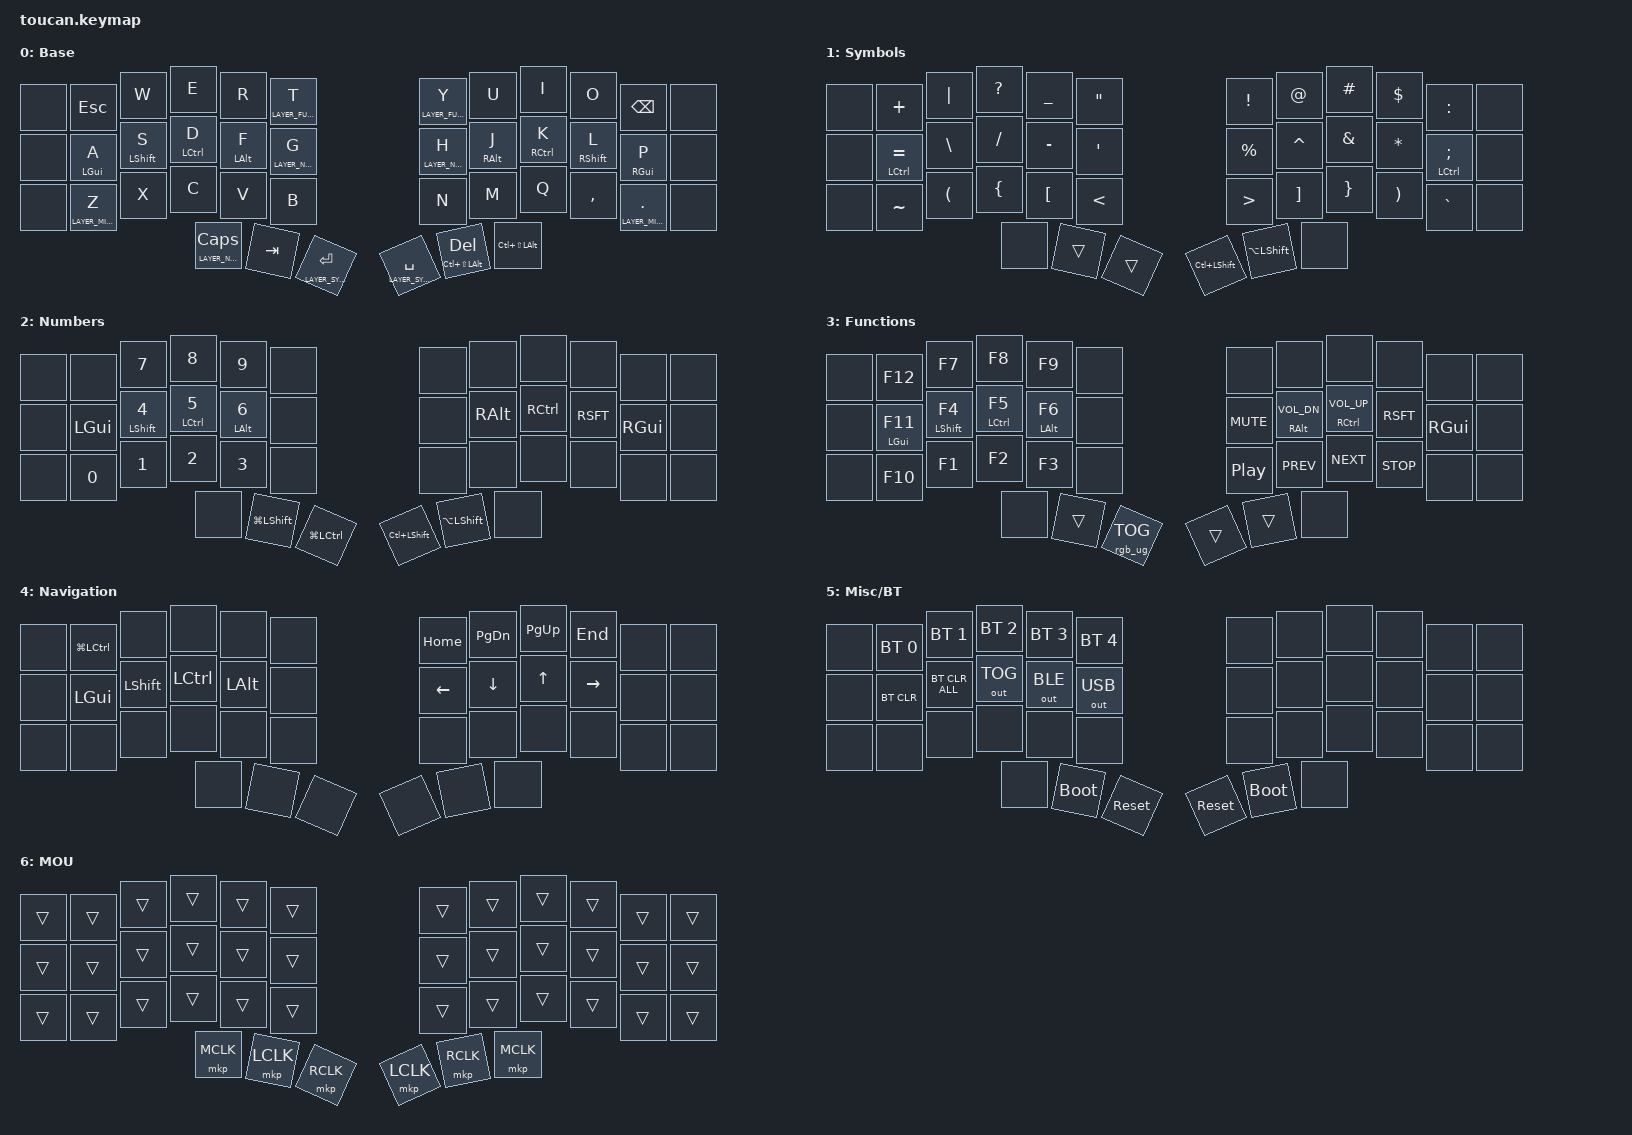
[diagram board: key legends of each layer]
/*
 * Copyright (c) 2020 The ZMK Contributors
 *
 * SPDX-License-Identifier: MIT
 */

#include <behaviors.dtsi>
#include <dt-bindings/zmk/keys.h>
#include <dt-bindings/zmk/bt.h>
#include <dt-bindings/zmk/outputs.h>
#include <dt-bindings/zmk/rgb.h>
#include <dt-bindings/zmk/pointing.h>

// Layer definitions
#define LAYER_BASE        0
#define LAYER_SYMBOLS     1
#define LAYER_NUMBERS     2
#define LAYER_FUNCTIONS   3
#define LAYER_NAVIGATION  4
#define LAYER_MISC        5
#define LAYER_MOUSE       6

// Modifier combination aliases
#define MEH_KEY  LC(LS(LALT))
#define HYPR_KEY LC(LS(LA(LGUI)))
#define CTRLSHFT LC(LSHIFT)
#define OSSHFT   LG(LSHIFT)
#define ALTSHFT  LA(LSHIFT)
#define OSCTRL   LG(LCTRL)

/ {
    behaviors {
        hm: homerow_mods {
            compatible = "zmk,behavior-hold-tap";
            label = "HOMEROW_MODS";
            #binding-cells = <2>;
            flavor = "balanced";
            tapping-term-ms = <200>;
            quick-tap-ms = <175>;
            require-prior-idle-ms = <125>;
            bindings = <&kp>, <&kp>;
        };
    };

    keymap {
        compatible = "zmk,keymap";

        base_layer {
            display-name = "Base";
// ---------------------------------------------------------------------------------------------------------------------------------
// |      |  ESC       |  W         |  E         |  R         |  T (LT3)   |   |  Y (LT3)   |  U         |  I         |  O         |  BSPC      |      |
// |      |  A (GUI)   |  S (SFT)   |  D (CTL)   |  F (ALT)   |  G (LT2)   |   |  H (LT2)   |  J (ALT)   |  K (CTL)   |  L (SFT)   |  P (GUI)   |      |
// |      |  Z (LT5)   |  X         |  C         |  V         |  B         |   |  N         |  M         |  Q         |  ,         |  . (LT5)   |      |
//                                  | CAPS (LT4) | TAB        | ENT (LT1)  |   | SPC (LT1)  | DEL (MEH)  | MEH        |
            bindings = <
   &none  &kp ESC     &kp W        &kp E        &kp R        &lt LAYER_FUNCTIONS T       &lt LAYER_FUNCTIONS Y  &kp U        &kp I        &kp O        &kp BSPC           &none
   &none  &hm LGUI A  &hm LSHFT S  &hm LCTRL D  &hm LALT F   &lt LAYER_NUMBERS G         &lt LAYER_NUMBERS H    &hm RALT J   &hm RCTRL K  &hm RSHFT L  &hm RGUI P         &none
   &none  &lt LAYER_MISC Z &kp X   &kp C        &kp V        &kp B                       &kp N                  &kp M        &kp Q        &kp COMMA    &lt LAYER_MISC DOT &none
                                   &lt LAYER_NAVIGATION CAPS &kp TAB &lt LAYER_SYMBOLS RET  &lt LAYER_SYMBOLS SPACE &mt MEH_KEY DEL &kp MEH_KEY
            >;
        };

        symbols_layer {
            display-name = "Symbols";
// ---------------------------------------------------------------------------------------------------------------------------------
// |      |  +         |  |         |  ?         |  _         |  "         |   |  !         |  @         |  #         |  $         |  :         |      |
// |      |  = (CTL)   |  \         |  /         |  -         |  '         |   |  %         |  ^         |  &         |  *         |  ; (CTL)   |      |
// |      |  ~         |  (         |  {         |  [         |  <         |   |  >         |  ]         |  }         |  )         |  `         |      |
//                                  |            |  TRANS     |  TRANS     |   | CTRL+SHFT  | ALT+SHFT   |            |
            bindings = <
   &none  &kp PLUS          &kp PIPE  &kp QMARK &kp UNDER &kp DQT           &kp EXCL        &kp AT    &kp HASH  &kp DLLR   &kp COLON        &none
   &none  &mt LCTRL EQUAL   &kp BSLH  &kp FSLH  &kp MINUS &kp SQT           &kp PRCNT       &kp CARET &kp AMPS  &kp ASTRK  &mt LCTRL SEMI   &none
   &none  &kp TILDE         &kp LPAR  &kp LBRC  &kp LBKT  &kp LT            &kp GT          &kp RBKT  &kp RBRC  &kp RPAR   &kp GRAVE        &none
                                      &none     &trans    &trans            &kp CTRLSHFT    &kp ALTSHFT &none
            >;
        };

        numbers_layer {
            display-name = "Numbers";
// ---------------------------------------------------------------------------------------------------------------------------------
// |      |            |  7         |  8         |  9         |            |   |            |            |            |            |            |      |
// |      |  GUI       |  4 (SFT)   |  5 (CTL)   |  6 (ALT)   |            |   |            |  RALT      |  RCTRL     |  RSFT      |  RGUI      |      |
// |      |  0         |  1         |  2         |  3         |            |   |            |            |            |            |            |      |
//                                  |            |  GUI+SHFT  |  GUI+CTL   |   | CTRL+SHFT  | ALT+SHFT   |            |
            bindings = <
   &none  &none       &kp N7       &kp N8       &kp N9       &none          &none         &none        &none        &none        &none        &none
   &none  &kp LGUI    &hm LSHFT N4 &hm LCTRL N5 &hm LALT N6  &none          &none         &kp RALT     &kp RCTRL    &kp RSFT     &kp RGUI     &none
   &none  &kp N0      &kp N1       &kp N2       &kp N3       &none          &none         &none        &none        &none        &none        &none
                                   &none        &kp OSSHFT   &kp OSCTRL     &kp CTRLSHFT  &kp ALTSHFT  &none
            >;
        };

        functions_layer {
            display-name = "Functions";
// ---------------------------------------------------------------------------------------------------------------------------------
// |      |  F12       |  F7        |  F8        |  F9        |            |   |            |            |            |            |            |      |
// |      |  F11 (GUI) |  F4 (SFT)  |  F5 (CTL)  |  F6 (ALT)  |            |   |  MUTE      |  VOL- (ALT)|  VOL+ (CTL)|  RSFT      |  RGUI      |      |
// |      |  F10       |  F1        |  F2        |  F3        |            |   |  PLAY/PAUSE|  PREV      |  NEXT      |  STOP      |            |      |
//                                  |            |  TRANS     |  RGB_TOG   |   |  TRANS     |  TRANS     |            |
            bindings = <
   &none  &kp F12          &kp F7        &kp F8        &kp F9       &none           &none       &none             &none              &none        &none        &none
   &none  &mt LGUI F11     &mt LSHFT F4  &mt LCTRL F5  &mt LALT F6  &none           &kp C_MUTE  &mt RALT C_VOL_DN &mt RCTRL C_VOL_UP &kp RSFT     &kp RGUI     &none
   &none  &kp F10          &kp F1        &kp F2        &kp F3       &none           &kp C_PP    &kp C_PREV        &kp C_NEXT         &kp C_STOP   &none        &none
                                         &none         &trans       &rgb_ug RGB_TOG &trans      &trans            &none
            >;
        };

        navigation_layer {
            display-name = "Navigation";
// ---------------------------------------------------------------------------------------------------------------------------------
// |      |  GUI+CTL   |            |            |            |            |   |  HOME      |  PG_DN     |  PG_UP     |  END       |            |      |
// |      |  LGUI      |  LSHFT     |  LCTRL     |  LALT      |            |   |  LEFT      |  DOWN      |  UP        |  RIGHT     |            |      |
// |      |            |            |            |            |            |   |            |            |            |            |            |      |
//                                  |            |            |            |   |            |            |            |
            bindings = <
   &none  &kp OSCTRL  &none       &none       &none       &none             &kp HOME    &kp PG_DN   &kp PG_UP   &kp END     &none        &none
   &none  &kp LGUI    &kp LSHFT   &kp LCTRL   &kp LALT    &none             &kp LEFT    &kp DOWN    &kp UP      &kp RIGHT   &none        &none
   &none  &none       &none       &none       &none       &none             &none       &none       &none       &none       &none        &none
                                  &none       &none       &none             &none       &none       &none
            >;
        };

        misc_layer {
            display-name = "Misc/BT";
// ---------------------------------------------------------------------------------------------------------------------------------
// |      |  BT_SEL 0  |  BT_SEL 1  |  BT_SEL 2  |  BT_SEL 3  |  BT_SEL 4  |   |            |            |            |            |            |      |
// |      |  BT_CLR    |  BT_CLR_ALL|  OUT_TOG   |  OUT_BLE   |  OUT_USB   |   |            |            |            |            |            |      |
// |      |            |            |            |            |            |   |            |            |            |            |            |      |
//                                  |            |  BOOTLDR   |  SYS_RST   |   |  SYS_RST   |  BOOTLDR   |            |
            bindings = <
   &none  &bt BT_SEL 0  &bt BT_SEL 1    &bt BT_SEL 2  &bt BT_SEL 3 &bt BT_SEL 4    &none        &none        &none       &none       &none        &none
   &none  &bt BT_CLR    &bt BT_CLR_ALL  &out OUT_TOG  &out OUT_BLE &out OUT_USB    &none        &none        &none       &none       &none        &none
   &none  &none         &none           &none         &none        &none           &none        &none        &none       &none       &none        &none
                                        &none         &bootloader  &sys_reset      &sys_reset   &bootloader  &none
            >;
        };

        mouse_layer {
            display-name = "MOU";
// ---------------------------------------------------------------------------------------------------------------------------------
// |  TRANS  |  TRANS  |  TRANS  |  TRANS  |  TRANS  |  TRANS  |   |  TRANS  |  TRANS  |  TRANS  |  TRANS  |  TRANS  |  TRANS  |
// |  TRANS  |  TRANS  |  TRANS  |  TRANS  |  TRANS  |  TRANS  |   |  TRANS  |  TRANS  |  TRANS  |  TRANS  |  TRANS  |  TRANS  |
// |  TRANS  |  TRANS  |  TRANS  |  TRANS  |  TRANS  |  TRANS  |   |  TRANS  |  TRANS  |  TRANS  |  TRANS  |  TRANS  |  TRANS  |
//                               |  MCLK   |  LCLK   |  RCLK   |   |  LCLK   |  RCLK   |  MCLK   |
            bindings = <
   &trans  &trans  &trans  &trans  &trans  &trans         &trans  &trans  &trans  &trans  &trans  &trans
   &trans  &trans  &trans  &trans  &trans  &trans         &trans  &trans  &trans  &trans  &trans  &trans
   &trans  &trans  &trans  &trans  &trans  &trans         &trans  &trans  &trans  &trans  &trans  &trans
                           &mkp MCLK  &mkp LCLK  &mkp RCLK    &mkp LCLK  &mkp RCLK  &mkp MCLK
            >;
        };

        extra_1 {
            status = "reserved";
        };

        extra_2 {
            status = "reserved";
        };
    };
};
